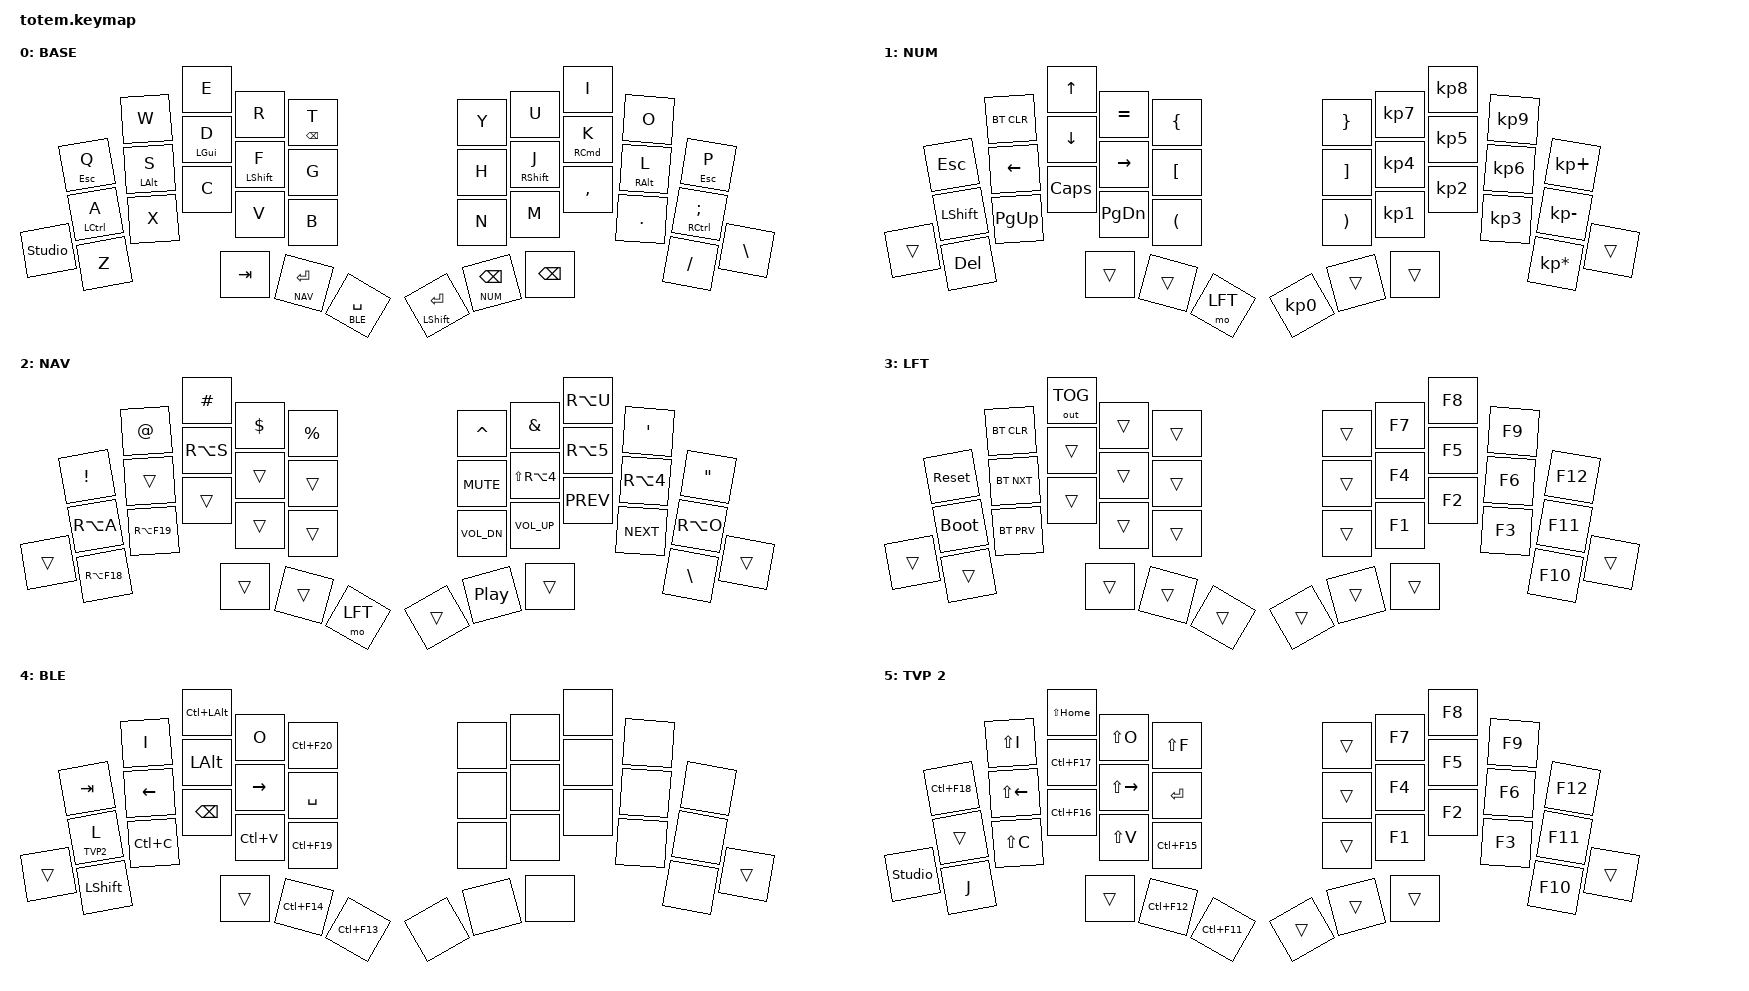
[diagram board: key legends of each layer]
//
// ▀▀▀▀▀ ▀▀▀▀▀ ▀▀█▀▀
// ▄▀▀▀▄ ▄ ▄▀▀▀▄ ▄ ▄▀▀▀▄ █ ▄▀▀▀▄
// █ █ █ █ █ █ █ █ █ █ █
// ▀▀▀ █ ▀▀▀ █ ▀▀▀ ▀ ▀▀▀
// █ ▄▄▄█▄▄▄ █ █
// ▀ █ █ █ █▄█
// ▀▀▀▀▀ █ █ █ ▀
// ▀ ▀ ▀
//
// ▄▄▄▄▄▄▄▄▄▄▄▄▄▄▄▄▄▄▄▄▄▄▄▄▄▄▄▄▄▄▄▄▄▄▄▄▄▄▄▄▄▄▄▄▄▄▄▄▄▄▄▄▄▄▄▄▄▄▄▄▄▄▄▄▄▄▄▄▄▄▄▄▄▄▄▄▄▄▄▄▄▄▄▄▄▄▄▄▄▄▄▄▄▄▄▄▄▄▄▄▄▄▄▄▄▄▄▄▄▄▄▄▄▄▄▄▄▄▄▄▄▄▄▄▄▄▄▄▄▄▄▄▄▄▄▄▄▄▄▄▄▄▄▄▄▄▄▄▄
#include <behaviors.dtsi>
#include <dt-bindings/zmk/bt.h>
#include <dt-bindings/zmk/keys.h>
#include <dt-bindings/zmk/outputs.h>

#define BASE 0
#define NUM  1
#define NAV  2
#define LFT  3
#define BLE  4
#define TVP2 5

&mt {
    flavor = "balanced";
    tapping-term-ms = <220>;
};

/ {
    combos {
        compatible = "zmk,combos";

        combo_ble {
            timeout-ms = <50>;
            key-positions = <32 37>;
            bindings = <&to BLE>;
        };

        combo_base {
            timeout-ms = <50>;
            key-positions = <34 35>;
            bindings = <&to BASE>;
        };
    };

    keymap {
        compatible = "zmk,keymap";

        base_layer {
            label = "BASE";
            bindings = <
&mt ESCAPE Q  &kp W       &kp E       &kp R             &mt BACKSPACE T    &kp Y             &kp U               &kp I                &kp O      &mt ESCAPE P
&mt LCTRL A   &mt LALT S  &mt LGUI D  &mt LEFT_SHIFT F  &kp G              &kp H             &mt RIGHT_SHIFT J   &mt RIGHT_COMMAND K  &mt RALT L &mt RIGHT_CONTROL SEMI
&studio_unlock &kp Z      &kp X       &kp C             &kp V  &kp B       &kp N             &kp M               &kp COMMA            &kp DOT    &kp FSLH  &kp BSLH
                                       &kp TAB    &lt NAV ENTER &lt BLE SPACE   &mt LEFT_SHIFT ENTER &lt NUM BACKSPACE &kp BSPC
            >;
        };

        num_layer {
            label = "NUM";
            bindings = <
&kp ESC     &bt BT_CLR  &kp UP      &kp EQUAL     &kp LBRC            &kp RBRC    &kp KP_N7  &kp KP_N8  &kp KP_N9  &kp KP_PLUS
&kp LSHFT   &kp LEFT    &kp DOWN    &kp RIGHT     &kp LBKT            &kp RBKT    &kp KP_N4  &kp KP_N5  &kp KP_N6  &kp KP_MINUS
&trans       &kp DEL  &kp PG_UP   &kp CAPS      &kp PG_DN &kp LPAR  &kp RPAR    &kp KP_N1  &kp KP_N2  &kp KP_N3  &kp KP_MULTIPLY &trans
                                     &trans  &trans  &mo LFT   &kp KP_N0  &trans  &trans
            >;
        };

        nav_layer {
            label = "NAV";
            bindings = <
&kp EXCL    &kp AT      &kp HASH    &kp DLLR      &kp PRCNT           &kp CARET   &kp AMPS      &kp RA(U)  &kp SQT    &kp DQT
&kp RA(A)   &trans      &kp RA(S)   &trans        &trans              &kp C_MUTE  &kp LS(RA(N4)) &kp RA(N5) &kp RA(N4) &kp RA(O)
&trans      &kp RA(F18) &kp RA(F19) &trans     &trans    &trans    &kp C_VOL_DN &kp C_VOL_UP &kp C_PREV &kp C_NEXT &kp BSLH  &trans
                                     &trans  &trans  &mo LFT   &trans  &kp C_PP  &trans
            >;
        };

        lft_layer {
            label = "LFT";
            bindings = <
&sys_reset  &bt BT_CLR  &out OUT_TOG &trans        &trans              &trans      &kp F7     &kp F8     &kp F9     &kp F12
&bootloader &bt BT_NXT  &trans       &trans        &trans              &trans      &kp F4     &kp F5     &kp F6     &kp F11
&trans      &trans   &bt BT_PRV   &trans        &trans    &trans    &trans      &kp F1     &kp F2     &kp F3     &kp F10   &trans
                                     &trans  &trans  &trans  &trans  &trans  &trans
            >;
        };

        ble_layer {
            label = "BLE";
            bindings = <
&kp TAB     &kp I       &kp LC(LALT) &kp O         &kp LC(F20)         &none       &none      &none      &none      &none
&lt TVP2 L  &kp LEFT    &kp LALT     &kp RIGHT     &kp SPACE           &none       &none      &none      &none      &none
&trans      &kp LSHFT &kp LC(C)   &kp BSPC      &kp LC(V) &kp LC(F19) &none   &none      &none      &none      &none     &trans
                                     &trans  &kp LC(F14) &kp LC(F13)  &none  &none  &none
            >;
        };

        tvp2_layer {
            label = "TVP 2";
            bindings = <
&kp LC(F18) &kp LS(I)   &kp LS(HOME) &kp LS(O)     &kp LS(F)           &trans      &kp F7     &kp F8     &kp F9     &kp F12
&trans      &kp LS(LEFT) &kp LC(F17) &kp LS(RIGHT) &kp RET             &trans      &kp F4     &kp F5     &kp F6     &kp F11
&studio_unlock &kp J    &kp LS(C)    &kp LC(F16)   &kp LS(V) &kp LC(F15) &trans   &kp F1     &kp F2     &kp F3     &kp F10   &trans
                                     &trans  &kp LC(F12) &kp LC(F11)  &trans  &trans  &trans
            >;
        };
    };
};
